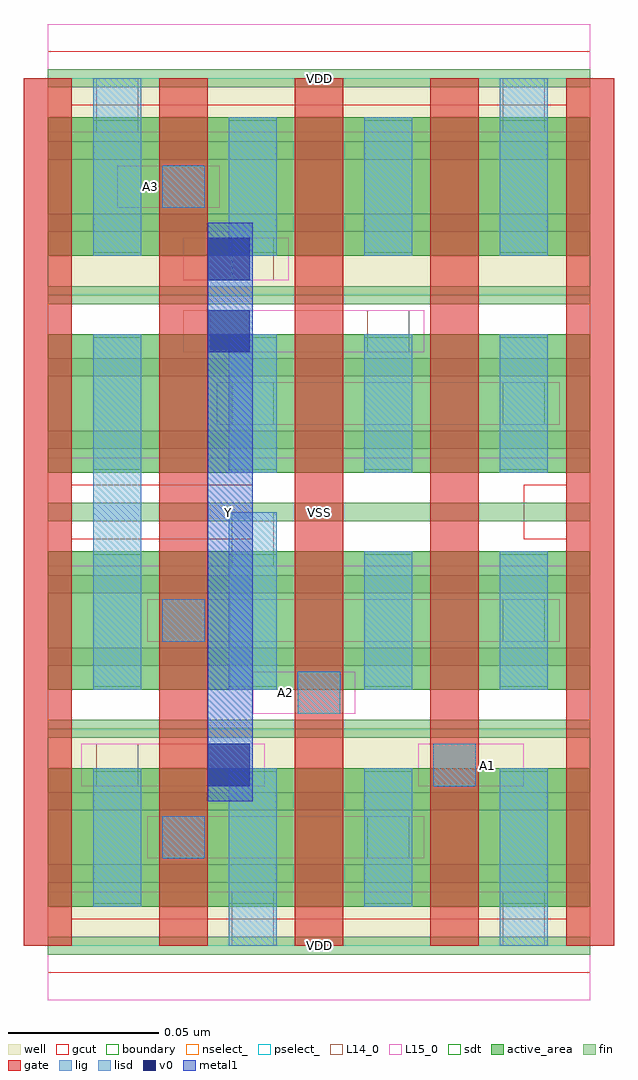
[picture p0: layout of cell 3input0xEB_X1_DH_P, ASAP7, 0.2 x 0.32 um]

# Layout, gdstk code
import gdstk
lib = gdstk.Library(unit=1e-6, precision=1e-09)
def R(c, l, rs):  # rectangles x0, y0, x1, y1
    for r in rs: c.add(gdstk.rectangle(r[:2], r[2:], *l))
def A(c, l, x, y, w, h, nx, ny, dx, dy):  # array of equal rectangles
    R(c, l, [(x+i*dx, y+j*dy, x+i*dx+w, y+j*dy+h) for i in range(nx) for j in range(ny)])
def P(c, l, *ps):  # polygons
    for p in ps: c.add(gdstk.Polygon(p, *l))
well = (1, 0)
fin = (2, 0)
gate = (7, 0)
gcut = (10, 0)
active_area = (11, 0)
nselect_ = (12, 0)
pselect_ = (13, 0)
L14_0 = (14, 0)
L15_0 = (15, 0)
lig = (16, 0)
lisd = (17, 0)
v0 = (18, 0)
metal1 = (19, 0)
sdt = (88, 0)
boundary = (100, 0)

c_3input0xeb_x1_dh_p = lib.new_cell('3input0xEB_X1_DH_P')
R(c_3input0xeb_x1_dh_p, well, [(0,0,0.18,0.072), (0,0.216,0.18,0.288)])
A(c_3input0xeb_x1_dh_p, fin, 0, -0.003, 0.18, 0.006, 1, 13, 0, 0.024)
A(c_3input0xeb_x1_dh_p, gate, -0.008, 0, 0.016, 0.288, 5, 1, 0.045, 0)
P(c_3input0xeb_x1_dh_p, gcut, [(0,-0.009),(0,0),(-0.008,0),(-0.008,0.279),(0.008,0.279),(0.008,0.153),(0.068,0.153),(0.068,0.135),(0.008,0.135),(0.008,0.009),(0.172,0.009),(0.172,0.135),(0.158,0.135),(0.158,0.153),(0.172,0.153),(0.172,0.279),(-0.008,0.279),(-0.008,0.288),(0,0.288),(0,0.297),(0.18,0.297),(0.18,0.288),(0.188,0.288),(0.188,0),(0.18,0),(0.18,-0.009)])
A(c_3input0xeb_x1_dh_p, active_area, 0, 0.013, 0.18, 0.046, 1, 4, 0, 0.072)
R(c_3input0xeb_x1_dh_p, nselect_, [(0,0.072,0.18,0.144), (0,0.144,0.18,0.216)])
R(c_3input0xeb_x1_dh_p, pselect_, [(0,0,0.18,0.072), (0,0.216,0.18,0.288)])
R(c_3input0xeb_x1_dh_p, L14_0, [(0.061,0,0.075,0.018), (0.151,0,0.165,0.018), (0.038,0.029,0.052,0.043), (0.106,0.029,0.12,0.043), (0.016,0.053,0.03,0.067), (0.128,0.053,0.142,0.067), (0.083,0.077,0.097,0.091), (0.038,0.101,0.052,0.115), (0.151,0.101,0.165,0.115), (0.061,0.126,0.075,0.144), (0.061,0.173,0.075,0.187), (0.151,0.173,0.165,0.187), (0.106,0.197,0.12,0.211), (0.061,0.221,0.075,0.235), (0.038,0.245,0.052,0.259), (0.016,0.27,0.03,0.288), (0.151,0.27,0.165,0.288)])
A(c_3input0xeb_x1_dh_p, L15_0, 0, -0.018, 0.18, 0.036, 1, 3, 0, 0.144)
R(c_3input0xeb_x1_dh_p, L15_0, [(0.033,0.029,0.125,0.043), (0.011,0.053,0.072,0.067), (0.123,0.053,0.158,0.067), (0.068,0.077,0.102,0.091), (0.033,0.101,0.17,0.115), (0.056,0.173,0.17,0.187), (0.045,0.197,0.125,0.211), (0.045,0.221,0.08,0.235), (0.023,0.245,0.057,0.259)])
R(c_3input0xeb_x1_dh_p, lig, [(0.038,0.029,0.052,0.043), (0.128,0.053,0.142,0.067), (0.083,0.077,0.097,0.091), (0.038,0.101,0.052,0.115), (0.038,0.245,0.052,0.259)])
A(c_3input0xeb_x1_dh_p, lisd, 0.06, 0.157, 0.016, 0.046, 3, 1, 0.045, 0)
R(c_3input0xeb_x1_dh_p, lisd, [(0.06,0,0.076,0.059), (0.15,0,0.166,0.059), (0.015,0.013,0.031,0.059), (0.105,0.013,0.121,0.059), (0.015,0.085,0.031,0.203), (0.06,0.085,0.076,0.144), (0.105,0.085,0.121,0.131), (0.15,0.085,0.166,0.131), (0.015,0.229,0.031,0.288), (0.06,0.229,0.076,0.275), (0.105,0.229,0.121,0.275), (0.15,0.229,0.166,0.288)])
R(c_3input0xeb_x1_dh_p, v0, [(0.053,0.053,0.067,0.067), (0.053,0.197,0.067,0.211), (0.053,0.221,0.067,0.235)])
R(c_3input0xeb_x1_dh_p, metal1, [(0.053,0.048,0.068,0.24)])
A(c_3input0xeb_x1_dh_p, sdt, 0.015, 0.014, 0.016, 0.044, 4, 4, 0.045, 0.072)
R(c_3input0xeb_x1_dh_p, boundary, [(0,0,0.18,0.288)])
c_3input0xeb_x1_dh_p.add(gdstk.Label('A2', (0.079,0.084), layer=15, texttype=251))
c_3input0xeb_x1_dh_p.add(gdstk.Label('VDD', (0.09,0), layer=15, texttype=251))
c_3input0xeb_x1_dh_p.add(gdstk.Label('VSS', (0.09,0.144), layer=15, texttype=251))
c_3input0xeb_x1_dh_p.add(gdstk.Label('VSS', (0.09,0.144), layer=15, texttype=251))
c_3input0xeb_x1_dh_p.add(gdstk.Label('VDD', (0.09,0.288), layer=15, texttype=251))
c_3input0xeb_x1_dh_p.add(gdstk.Label('VDD', (0.09,0), layer=15, texttype=251))
c_3input0xeb_x1_dh_p.add(gdstk.Label('VSS', (0.09,0.144), layer=15, texttype=251))
c_3input0xeb_x1_dh_p.add(gdstk.Label('VSS', (0.09,0.144), layer=15, texttype=251))
c_3input0xeb_x1_dh_p.add(gdstk.Label('VDD', (0.09,0.288), layer=15, texttype=251))
c_3input0xeb_x1_dh_p.add(gdstk.Label('A3', (0.034,0.252), layer=15, texttype=251))
c_3input0xeb_x1_dh_p.add(gdstk.Label('VDD', (0.09,0), layer=15, texttype=251))
c_3input0xeb_x1_dh_p.add(gdstk.Label('VSS', (0.09,0.144), layer=15, texttype=251))
c_3input0xeb_x1_dh_p.add(gdstk.Label('VSS', (0.09,0.144), layer=15, texttype=251))
c_3input0xeb_x1_dh_p.add(gdstk.Label('VDD', (0.09,0.288), layer=15, texttype=251))
c_3input0xeb_x1_dh_p.add(gdstk.Label('A1', (0.146,0.06), layer=15, texttype=251))
c_3input0xeb_x1_dh_p.add(gdstk.Label('VDD', (0.09,0), layer=15, texttype=251))
c_3input0xeb_x1_dh_p.add(gdstk.Label('VSS', (0.09,0.144), layer=15, texttype=251))
c_3input0xeb_x1_dh_p.add(gdstk.Label('VSS', (0.09,0.144), layer=15, texttype=251))
c_3input0xeb_x1_dh_p.add(gdstk.Label('VDD', (0.09,0.288), layer=15, texttype=251))
c_3input0xeb_x1_dh_p.add(gdstk.Label('VSS', (0.09,0.144), layer=3, texttype=251))
c_3input0xeb_x1_dh_p.add(gdstk.Label('VSS', (0.09,0.144), layer=3, texttype=251))
c_3input0xeb_x1_dh_p.add(gdstk.Label('VSS', (0.09,0.144), layer=3, texttype=251))
c_3input0xeb_x1_dh_p.add(gdstk.Label('VSS', (0.09,0.144), layer=3, texttype=251))
c_3input0xeb_x1_dh_p.add(gdstk.Label('VSS', (0.09,0.144), layer=3, texttype=251))
c_3input0xeb_x1_dh_p.add(gdstk.Label('VSS', (0.09,0.144), layer=3, texttype=251))
c_3input0xeb_x1_dh_p.add(gdstk.Label('VSS', (0.09,0.144), layer=3, texttype=251))
c_3input0xeb_x1_dh_p.add(gdstk.Label('VSS', (0.09,0.144), layer=3, texttype=251))
c_3input0xeb_x1_dh_p.add(gdstk.Label('VDD', (0.09,0), layer=1, texttype=251))
c_3input0xeb_x1_dh_p.add(gdstk.Label('VDD', (0.09,0.288), layer=1, texttype=251))
c_3input0xeb_x1_dh_p.add(gdstk.Label('VDD', (0.09,0), layer=1, texttype=251))
c_3input0xeb_x1_dh_p.add(gdstk.Label('VDD', (0.09,0.288), layer=1, texttype=251))
c_3input0xeb_x1_dh_p.add(gdstk.Label('VDD', (0.09,0), layer=1, texttype=251))
c_3input0xeb_x1_dh_p.add(gdstk.Label('VDD', (0.09,0.288), layer=1, texttype=251))
c_3input0xeb_x1_dh_p.add(gdstk.Label('VDD', (0.09,0), layer=1, texttype=251))
c_3input0xeb_x1_dh_p.add(gdstk.Label('VDD', (0.09,0.288), layer=1, texttype=251))
c_3input0xeb_x1_dh_p.add(gdstk.Label('Y', (0.06,0.144), layer=19, texttype=251))

lib.write_gds('3input0xEB_X1_DH_P.gds')
